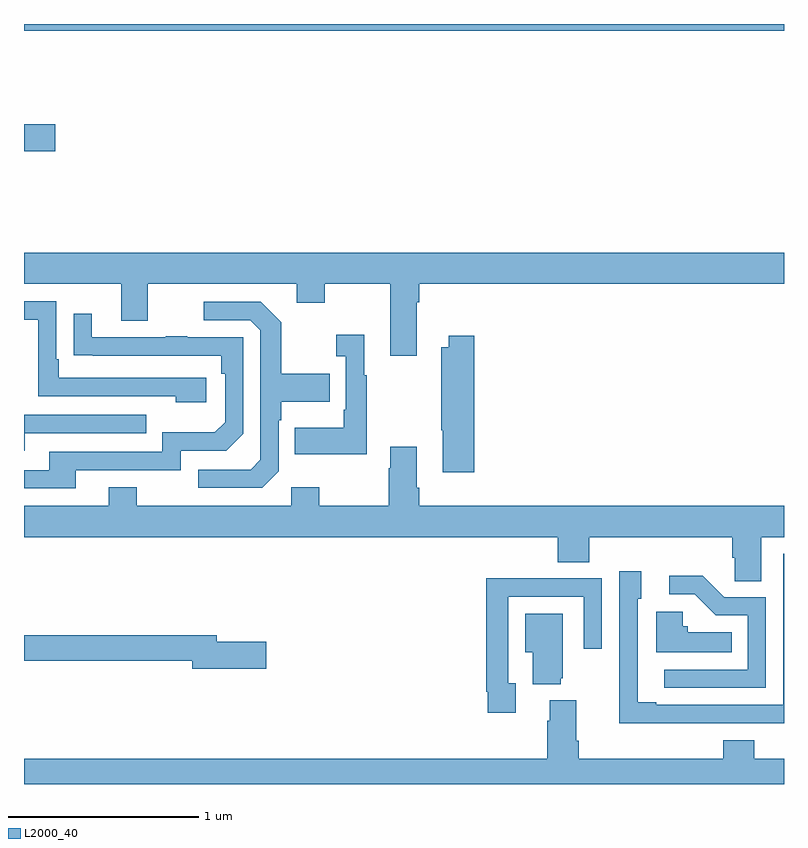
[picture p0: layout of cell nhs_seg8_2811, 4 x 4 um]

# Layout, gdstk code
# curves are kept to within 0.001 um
import gdstk
lib = gdstk.Library(unit=1e-6, precision=1e-09)
def R(c, l, rs):  # rectangles x0, y0, x1, y1
    for r in rs: c.add(gdstk.rectangle(r[:2], r[2:], *l))
def P(c, l, *ps):  # polygons
    for p in ps: c.add(gdstk.Polygon(p, *l))
L2000_40 = (2000, 40)

nhs_seg8_2811 = lib.new_cell('nhs_seg8_2811')
R(nhs_seg8_2811, L2000_40, [(289,1085.231,289.165,1085.373), (289,1085.864,293,1085.9)])
P(nhs_seg8_2811, L2000_40, [(291.067,1084.436),(291.08,1084.436),(291.08,1084.532),(293,1084.532),(293,1084.696),(289,1084.696),(289,1084.532),(289.511,1084.532),(289.511,1084.338),(289.651,1084.338),(289.651,1084.532),(290.435,1084.532),(290.435,1084.433),(290.583,1084.433),(290.583,1084.532),(290.927,1084.532),(290.927,1084.155),(291.067,1084.155)],
  [(289.96,1084.038),(289.183,1084.038),(289.183,1084.135),(289.17,1084.135),(289.17,1084.44),(289,1084.44),(289,1084.344),(289.074,1084.344),(289.074,1083.942),(289.799,1083.942),(289.799,1083.908),(289.96,1083.908)],
  [(290.34,1083.546),(290.34,1083.815),(290.353,1083.815),(290.353,1083.911),(290.609,1083.911),(290.609,1084.059),(290.353,1084.059),(290.353,1084.331),(290.247,1084.437),(289.947,1084.437),(289.947,1084.341),(290.19,1084.341),(290.244,1084.287),(290.244,1083.606),(290.193,1083.555),(289.917,1083.555),(289.917,1083.459),(290.253,1083.459)],
  [(289.273,1083.552),(289.824,1083.552),(289.824,1083.654),(290.064,1083.654),(290.154,1083.744),(290.154,1084.251),(289.859,1084.251),(289.859,1084.256),(289.747,1084.256),(289.747,1084.251),(289.357,1084.251),(289.357,1084.375),(289.261,1084.375),(289.261,1084.156),(290.038,1084.155),(290.038,1084.058),(290.058,1084.058),(290.058,1083.804),(290.005,1083.751),(289.728,1083.751),(289.728,1083.648),(289.133,1083.648),(289.133,1083.552),(289,1083.552),(289,1083.456),(289.273,1083.456)],
  [(290.803,1084.051),(290.791,1084.051),(290.791,1084.264),(290.643,1084.264),(290.643,1084.151),(290.694,1084.151),(290.694,1083.871),(290.682,1083.871),(290.682,1083.775),(290.425,1083.775),(290.425,1083.635),(290.803,1083.635)],
  [(291.371,1084.258),(291.236,1084.258),(291.236,1084.198),(291.196,1084.198),(291.196,1083.763),(291.203,1083.763),(291.203,1083.54),(291.371,1083.54)],
  [(289.003,1083.747),(289.643,1083.747),(289.643,1083.843),(289,1083.843),(289,1083.653),(289.003,1083.653)],
  [(292.879,1083.2),(293,1083.2),(293,1083.364),(291.08,1083.364),(291.08,1083.46),(291.067,1083.46),(291.067,1083.676),(290.927,1083.676),(290.927,1083.563),(290.92,1083.563),(290.92,1083.364),(290.553,1083.364),(290.553,1083.463),(290.406,1083.463),(290.406,1083.364),(289.593,1083.364),(289.593,1083.463),(289.445,1083.463),(289.445,1083.364),(289,1083.364),(289,1083.2),(291.809,1083.2),(291.809,1083.067),(291.974,1083.067),(291.974,1083.2),(292.727,1083.2),(292.727,1083.091),(292.74,1083.091),(292.74,1082.968),(292.879,1082.968)],
  [(292.595,1082.22),(293,1082.22),(293,1083.111),(292.995,1083.111),(292.995,1082.316),(292.327,1082.316),(292.327,1082.329),(292.23,1082.329),(292.23,1082.874),(292.249,1082.874),(292.249,1083.019),(292.134,1083.019),(292.134,1082.525),(292.132,1082.525),(292.132,1082.219),(292.595,1082.219)],
  [(292.905,1082.883),(292.686,1082.883),(292.573,1082.996),(292.395,1082.996),(292.395,1082.898),(292.529,1082.898),(292.64,1082.787),(292.809,1082.787),(292.809,1082.502),(292.371,1082.502),(292.371,1082.406),(292.905,1082.406)],
  [(291.589,1082.43),(291.549,1082.43),(291.549,1082.886),(291.945,1082.886),(291.945,1082.613),(292.041,1082.613),(292.041,1082.982),(291.725,1082.982),(291.725,1082.984),(291.433,1082.984),(291.433,1082.386),(291.441,1082.386),(291.441,1082.274),(291.589,1082.274)],
  [(292.724,1082.698),(292.494,1082.698),(292.494,1082.73),(292.467,1082.73),(292.467,1082.806),(292.328,1082.806),(292.328,1082.594),(292.724,1082.594)],
  [(291.824,1082.457),(291.835,1082.457),(291.835,1082.797),(291.638,1082.797),(291.638,1082.594),(291.677,1082.594),(291.677,1082.426),(291.824,1082.426)],
  [(290.275,1082.648),(290.014,1082.648),(290.014,1082.684),(289,1082.684),(289,1082.548),(289.886,1082.548),(289.886,1082.506),(290.275,1082.506)],
  [(293,1082.032),(292.844,1082.032),(292.844,1082.131),(292.679,1082.131),(292.679,1082.032),(291.92,1082.032),(291.92,1082.128),(291.907,1082.128),(291.907,1082.341),(291.767,1082.341),(291.767,1082.234),(291.755,1082.234),(291.755,1082.032),(289,1082.032),(289,1081.9),(293,1081.9)])

lib.write_gds('nhs_seg8_2811.gds')
